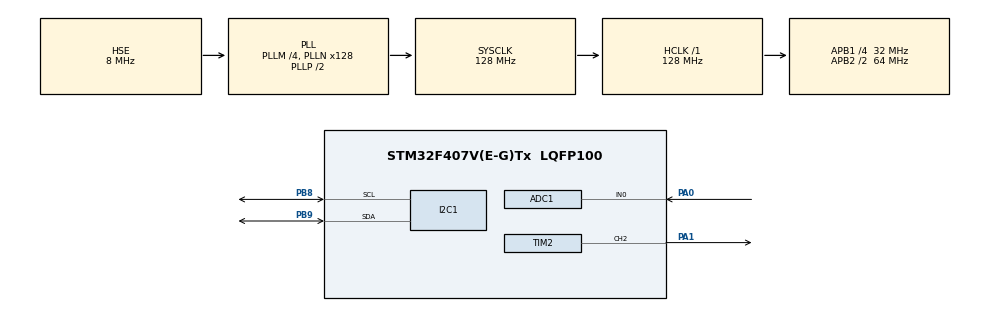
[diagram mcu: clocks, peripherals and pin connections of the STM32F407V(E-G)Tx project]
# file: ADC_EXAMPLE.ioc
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ADC1.Channel-0\#ChannelRegularConversion=ADC_CHANNEL_0
ADC1.ClockPrescaler=ADC_CLOCK_SYNC_PCLK_DIV4
ADC1.ContinuousConvMode=ENABLE
ADC1.EOCSelection=ADC_EOC_SEQ_CONV
ADC1.NbrOfConversionFlag=1
ADC1.Rank-0\#ChannelRegularConversion=1
ADC1.Resolution=ADC_RESOLUTION_12B
ADC1.SamplingTime-0\#ChannelRegularConversion=ADC_SAMPLETIME_480CYCLES
ADC1.master=1
I2C1.I2C_Mode=I2C_Fast
Mcu.Family=STM32F4
Mcu.Name=STM32F407V(E-G)Tx
Mcu.Package=LQFP100
NVIC.PriorityGroup=NVIC_PRIORITYGROUP_4
PA0-WKUP.Signal=ADCx_IN0
PA1.Signal=S_TIM2_CH2
PA10.Signal=USART1_RX
PA9.Signal=USART1_TX
PB8.Mode=I2C
PB8.Signal=I2C1_SCL
PB9.Mode=I2C
PB9.Signal=I2C1_SDA
PH0-OSC_IN.Mode=HSE-External-Oscillator
PH0-OSC_IN.Signal=RCC_OSC_IN
PH1-OSC_OUT.Mode=HSE-External-Oscillator
PH1-OSC_OUT.Signal=RCC_OSC_OUT
ProjectManager.HeapSize=0x200
ProjectManager.StackSize=0x400
ProjectManager.TargetToolchain=STM32CubeIDE
RCC.48MHZClocksFreq_Value=64000000
RCC.AHBFreq_Value=128000000
RCC.APB1CLKDivider=RCC_HCLK_DIV4
RCC.APB1Freq_Value=32000000
RCC.APB1TimFreq_Value=64000000
RCC.APB2CLKDivider=RCC_HCLK_DIV2
RCC.APB2Freq_Value=64000000
RCC.APB2TimFreq_Value=128000000
RCC.CortexFreq_Value=128000000
RCC.HCLKFreq_Value=128000000
RCC.HSE_VALUE=8000000
RCC.HSI_VALUE=16000000
RCC.LSE_VALUE=32768
RCC.PLLM=4
RCC.PLLN=128
RCC.PLLSourceVirtual=RCC_PLLSOURCE_HSE
RCC.SYSCLKFreq_VALUE=128000000
RCC.SYSCLKSource=RCC_SYSCLKSOURCE_PLLCLK
RCC.VCOOutputFreq_Value=256000000
SH.ADCx_IN0.0=ADC1_IN0,IN0
SH.S_TIM2_CH2.0=TIM2_CH2,PWM Generation2 CH2
TIM2.Channel-PWM\ Generation2\ CH2=TIM_CHANNEL_2
TIM2.ClockDivision=TIM_CLOCKDIVISION_DIV1
TIM2.Period=2000
TIM2.Prescaler=160
TIM2.Pulse-PWM\ Generation2\ CH2=50
board=custom

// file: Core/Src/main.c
/* USER CODE BEGIN Header */
/**
  ******************************************************************************
  * @file           : main.c
  * @brief          : Main program body
  ******************************************************************************
  * @attention
  *
  * Copyright (c) 2023 STMicroelectronics.
  * All rights reserved.
  *
  * This software is licensed under terms that can be found in the LICENSE file
  * in the root directory of this software component.
  * If no LICENSE file comes with this software, it is provided AS-IS.
  *
  ******************************************************************************
  */
/* USER CODE END Header */
#include "main.h"

/* USER CODE BEGIN Includes */

#include <stdio.h>
#include <string.h>
#include <stdlib.h>
#include <math.h>
#include <stdbool.h>

/* USER CODE END Includes */

/* USER CODE BEGIN PD */

#define MPU6050_ADDR 0X68<<1
#define PWR_MGMT_1_REG 0X6B
#define SMPLRT_DIV_REG 0X19
#define GYRO_CNFG_REG 0X1B
#define ACC_CNFG_REG 0X1C

/* USER CODE END PD */

/* USER CODE BEGIN PM */

uint8_t data;
uint8_t buffer[2], tuffer[6], cuffer[6];//Ham gyro ve acc değerlerinin tutulduğu listeler
int16_t gyro_raw[3], acc_raw[3];
float gyro_cal[3];//Kalibrasyon offsetlerinin tutulduğu listeler
int16_t acc_total_vector;
float angle_pitch_gyro, angle_roll_gyro;
float angle_pitch_acc, angle_roll_acc;
float angle_pitch, angle_roll;
int16_t raw_temp;
float temp;
int i;
float prevtime, prevtime1, time1, elapsedtime1, prevtime2, time2, elapsedtime2;
HAL_StatusTypeDef set_gyro;

/* USER CODE END PM */

ADC_HandleTypeDef hadc1;

I2C_HandleTypeDef hi2c1;

TIM_HandleTypeDef htim2;

/* USER CODE BEGIN PV */

unsigned short Pot_deger;
unsigned short filtre_deger;

/* USER CODE END PV */

void SystemClock_Config(void);
static void MX_GPIO_Init(void);
static void MX_ADC1_Init(void);
static void MX_TIM2_Init(void);
static void MX_I2C1_Init(void);

/* USER CODE BEGIN 0 */

//Map(deger sinirlama fonksiyonu) fonksiyonu
uint32_t map(uint32_t x, uint32_t in_min, uint32_t in_max, uint32_t out_min, uint32_t out_max)
{
  return (x - in_min) * (out_max - out_min) / (in_max - in_min) + out_min;
}

/* USER CODE END 0 */

int main(void)
{

  /* MCU Configuration--------------------------------------------------------*/

  /* Reset of all peripherals, Initializes the Flash interface and the Systick. */
  HAL_Init();

  /* Configure the system clock */
  SystemClock_Config();

  /* Initialize all configured peripherals */
  MX_GPIO_Init();
  MX_ADC1_Init();
  MX_TIM2_Init();
  MX_I2C1_Init();
  /* USER CODE BEGIN 2 */

  HAL_ADC_Start(&hadc1);
  HAL_TIM_PWM_Start(&htim2, TIM_CHANNEL_2);

  data = 0x00;
  HAL_I2C_Mem_Write (&hi2c1, MPU6050_ADDR, PWR_MGMT_1_REG, 1, &data, 1, HAL_MAX_DELAY);

  data = 0x08;
  HAL_I2C_Mem_Write(&hi2c1, MPU6050_ADDR, GYRO_CNFG_REG, 1, &data, 1, HAL_MAX_DELAY);

  data = 0x10;
  HAL_I2C_Mem_Write(&hi2c1, MPU6050_ADDR, ACC_CNFG_REG, 1, &data, 1, HAL_MAX_DELAY);

  for(i=0 ; i<2000 ; i++)
  {
	prevtime2 = time2;
	time2 = HAL_GetTick();
	elapsedtime2 = (time2- prevtime2)*1000;

	cuffer[0] = 0x43;
	HAL_I2C_Master_Transmit(&hi2c1, MPU6050_ADDR, cuffer, 1, HAL_MAX_DELAY);
	HAL_I2C_Master_Receive(&hi2c1, MPU6050_ADDR, cuffer, 6, HAL_MAX_DELAY);

	gyro_raw[0] = (cuffer[0] << 8 | cuffer[1]);
	gyro_raw[1] = (cuffer[2] << 8 | cuffer[3]);
	gyro_raw[3] = (cuffer[4] << 8 | cuffer[5]);

	gyro_cal[0] += gyro_raw[0];
	gyro_cal[1] += gyro_raw[1];
	gyro_cal[2] += gyro_raw[2];

  }

  /* USER CODE END 2 */

  /* Infinite loop */
  while (1)
  {

    /* USER CODE BEGIN 3 */

	if(HAL_ADC_PollForConversion(&hadc1, 100) == HAL_OK)
	{
		Pot_deger = HAL_ADC_GetValue(&hadc1);
	}

	filtre_deger = map(Pot_deger, 0, 4096, 200, 1400);

	__HAL_TIM_SET_COMPARE(&htim2,TIM_CHANNEL_2, filtre_deger);
	HAL_Delay(20);

  }
  /* USER CODE END 3 */
}

void SystemClock_Config(void)
{
  RCC_OscInitTypeDef RCC_OscInitStruct = {0};
  RCC_ClkInitTypeDef RCC_ClkInitStruct = {0};

  /** Configure the main internal regulator output voltage
  */
  __HAL_RCC_PWR_CLK_ENABLE();
  __HAL_PWR_VOLTAGESCALING_CONFIG(PWR_REGULATOR_VOLTAGE_SCALE1);

  /** Initializes the RCC Oscillators according to the specified parameters
  * in the RCC_OscInitTypeDef structure.
  */
  RCC_OscInitStruct.OscillatorType = RCC_OSCILLATORTYPE_HSE;
  RCC_OscInitStruct.HSEState = RCC_HSE_ON;
  RCC_OscInitStruct.PLL.PLLState = RCC_PLL_ON;
  RCC_OscInitStruct.PLL.PLLSource = RCC_PLLSOURCE_HSE;
  RCC_OscInitStruct.PLL.PLLM = 4;
  RCC_OscInitStruct.PLL.PLLN = 128;
  RCC_OscInitStruct.PLL.PLLP = RCC_PLLP_DIV2;
  RCC_OscInitStruct.PLL.PLLQ = 4;
  if (HAL_RCC_OscConfig(&RCC_OscInitStruct) != HAL_OK)
  {
    Error_Handler();
  }

  /** Initializes the CPU, AHB and APB buses clocks
  */
  RCC_ClkInitStruct.ClockType = RCC_CLOCKTYPE_HCLK|RCC_CLOCKTYPE_SYSCLK
                              |RCC_CLOCKTYPE_PCLK1|RCC_CLOCKTYPE_PCLK2;
  RCC_ClkInitStruct.SYSCLKSource = RCC_SYSCLKSOURCE_PLLCLK;
  RCC_ClkInitStruct.AHBCLKDivider = RCC_SYSCLK_DIV1;
  RCC_ClkInitStruct.APB1CLKDivider = RCC_HCLK_DIV4;
  RCC_ClkInitStruct.APB2CLKDivider = RCC_HCLK_DIV2;

  if (HAL_RCC_ClockConfig(&RCC_ClkInitStruct, FLASH_LATENCY_4) != HAL_OK)
  {
    Error_Handler();
  }
}

static void MX_ADC1_Init(void)
{

  ADC_ChannelConfTypeDef sConfig = {0};

  /** Configure the global features of the ADC (Clock, Resolution, Data Alignment and number of conversion)
  */
  hadc1.Instance = ADC1;
  hadc1.Init.ClockPrescaler = ADC_CLOCK_SYNC_PCLK_DIV4;
  hadc1.Init.Resolution = ADC_RESOLUTION_12B;
  hadc1.Init.ScanConvMode = DISABLE;
  hadc1.Init.ContinuousConvMode = ENABLE;
  hadc1.Init.DiscontinuousConvMode = DISABLE;
  hadc1.Init.ExternalTrigConvEdge = ADC_EXTERNALTRIGCONVEDGE_NONE;
  hadc1.Init.ExternalTrigConv = ADC_SOFTWARE_START;
  hadc1.Init.DataAlign = ADC_DATAALIGN_RIGHT;
  hadc1.Init.NbrOfConversion = 1;
  hadc1.Init.DMAContinuousRequests = DISABLE;
  hadc1.Init.EOCSelection = ADC_EOC_SEQ_CONV;
  if (HAL_ADC_Init(&hadc1) != HAL_OK)
  {
    Error_Handler();
  }

  /** Configure for the selected ADC regular channel its corresponding rank in the sequencer and its sample time.
  */
  sConfig.Channel = ADC_CHANNEL_0;
  sConfig.Rank = 1;
  sConfig.SamplingTime = ADC_SAMPLETIME_480CYCLES;
  if (HAL_ADC_ConfigChannel(&hadc1, &sConfig) != HAL_OK)
  {
    Error_Handler();
  }

}

static void MX_I2C1_Init(void)
{

  hi2c1.Instance = I2C1;
  hi2c1.Init.ClockSpeed = 400000;
  hi2c1.Init.DutyCycle = I2C_DUTYCYCLE_2;
  hi2c1.Init.OwnAddress1 = 0;
  hi2c1.Init.AddressingMode = I2C_ADDRESSINGMODE_7BIT;
  hi2c1.Init.DualAddressMode = I2C_DUALADDRESS_DISABLE;
  hi2c1.Init.OwnAddress2 = 0;
  hi2c1.Init.GeneralCallMode = I2C_GENERALCALL_DISABLE;
  hi2c1.Init.NoStretchMode = I2C_NOSTRETCH_DISABLE;
  if (HAL_I2C_Init(&hi2c1) != HAL_OK)
  {
    Error_Handler();
  }

}

static void MX_TIM2_Init(void)
{

  TIM_MasterConfigTypeDef sMasterConfig = {0};
  TIM_OC_InitTypeDef sConfigOC = {0};

  htim2.Instance = TIM2;
  htim2.Init.Prescaler = 160;
  htim2.Init.CounterMode = TIM_COUNTERMODE_UP;
  htim2.Init.Period = 2000;
  htim2.Init.ClockDivision = TIM_CLOCKDIVISION_DIV1;
  htim2.Init.AutoReloadPreload = TIM_AUTORELOAD_PRELOAD_DISABLE;
  if (HAL_TIM_PWM_Init(&htim2) != HAL_OK)
  {
    Error_Handler();
  }
  sMasterConfig.MasterOutputTrigger = TIM_TRGO_RESET;
  sMasterConfig.MasterSlaveMode = TIM_MASTERSLAVEMODE_DISABLE;
  if (HAL_TIMEx_MasterConfigSynchronization(&htim2, &sMasterConfig) != HAL_OK)
  {
    Error_Handler();
  }
  sConfigOC.OCMode = TIM_OCMODE_PWM1;
  sConfigOC.Pulse = 50;
  sConfigOC.OCPolarity = TIM_OCPOLARITY_HIGH;
  sConfigOC.OCFastMode = TIM_OCFAST_DISABLE;
  if (HAL_TIM_PWM_ConfigChannel(&htim2, &sConfigOC, TIM_CHANNEL_2) != HAL_OK)
  {
    Error_Handler();
  }
  HAL_TIM_MspPostInit(&htim2);

}

static void MX_GPIO_Init(void)
{
  GPIO_InitTypeDef GPIO_InitStruct = {0};

  /* GPIO Ports Clock Enable */
  __HAL_RCC_GPIOH_CLK_ENABLE();
  __HAL_RCC_GPIOA_CLK_ENABLE();
  __HAL_RCC_GPIOB_CLK_ENABLE();

  /*Configure GPIO pins : PA9 PA10 */
  GPIO_InitStruct.Pin = GPIO_PIN_9|GPIO_PIN_10;
  GPIO_InitStruct.Mode = GPIO_MODE_AF_PP;
  GPIO_InitStruct.Pull = GPIO_NOPULL;
  GPIO_InitStruct.Speed = GPIO_SPEED_FREQ_VERY_HIGH;
  GPIO_InitStruct.Alternate = GPIO_AF7_USART1;
  HAL_GPIO_Init(GPIOA, &GPIO_InitStruct);

}

void Error_Handler(void)
{
  __disable_irq();
  while (1)
  {
  }
}
